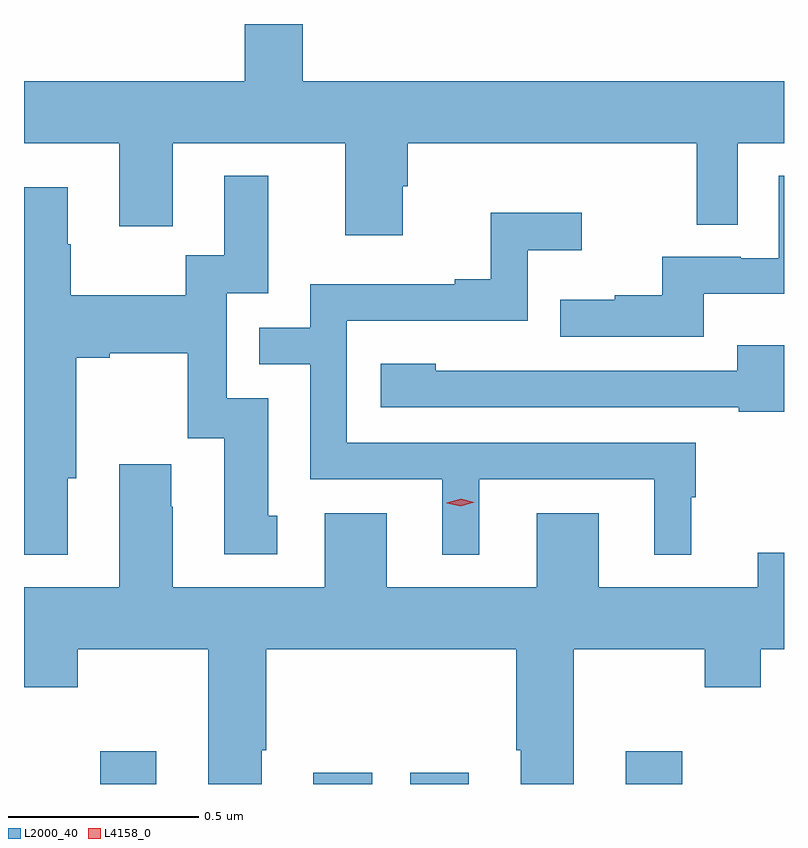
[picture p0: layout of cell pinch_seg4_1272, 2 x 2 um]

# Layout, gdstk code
import gdstk
lib = gdstk.Library(unit=1e-6, precision=1e-09)
def R(c, l, rs):  # rectangles x0, y0, x1, y1
    for r in rs: c.add(gdstk.rectangle(r[:2], r[2:], *l))
def P(c, l, *ps):  # polygons
    for p in ps: c.add(gdstk.Polygon(p, *l))
L2000_40 = (2000, 40)
L4158_0 = (4158, 0)

pinch_seg4_1272 = lib.new_cell('pinch_seg4_1272')
R(pinch_seg4_1272, L2000_40, [(157.665,823.106,157.812,823.192), (158.225,823.106,158.38,823.135), (158.48,823.106,158.635,823.135), (159.047,823.106,159.196,823.192)])
P(pinch_seg4_1272, L2000_40, [(158.461,824.679),(158.474,824.679),(158.474,824.792),(159.234,824.792),(159.234,824.578),(159.342,824.578),(159.342,824.792),(159.464,824.792),(159.464,824.956),(158.198,824.956),(158.198,825.106),(158.045,825.106),(158.045,824.956),(157.464,824.956),(157.464,824.792),(157.715,824.792),(157.715,824.574),(157.855,824.574),(157.855,824.792),(158.309,824.792),(158.309,824.55),(158.461,824.55)],
  [(157.579,823.911),(157.602,823.911),(157.602,824.228),(157.69,824.228),(157.69,824.24),(157.895,824.24),(157.895,824.016),(157.991,824.016),(157.991,823.71),(158.131,823.71),(158.131,823.812),(158.107,823.812),(158.107,824.121),(157.998,824.121),(157.998,824.397),(158.107,824.397),(158.107,824.707),(157.991,824.707),(157.991,824.498),(157.89,824.498),(157.89,824.392),(157.587,824.392),(157.587,824.526),(157.579,824.526),(157.579,824.677),(157.464,824.677),(157.464,823.709),(157.579,823.709)],
  [(159.253,824.396),(159.464,824.396),(159.464,824.707),(159.45,824.707),(159.45,824.49),(159.35,824.49),(159.35,824.493),(159.143,824.493),(159.143,824.392),(159.019,824.392),(159.019,824.38),(158.875,824.38),(158.875,824.283),(159.253,824.283)],
  [(158.662,823.908),(159.122,823.908),(159.122,823.709),(159.22,823.709),(159.22,823.86),(159.232,823.86),(159.232,824.004),(158.313,824.004),(158.313,824.325),(158.79,824.325),(158.79,824.51),(158.932,824.51),(158.932,824.609),(158.692,824.609),(158.692,824.434),(158.597,824.434),(158.597,824.421),(158.217,824.421),(158.217,824.307),(158.083,824.307),(158.083,824.211),(158.217,824.211),(158.217,823.908),(158.564,823.908),(158.564,823.709),(158.662,823.709)],
  [(159.464,824.26),(159.341,824.26),(159.341,824.193),(158.783,824.193),(158.783,824.194),(158.547,824.194),(158.547,824.212),(158.403,824.212),(158.403,824.097),(159.345,824.097),(159.345,824.085),(159.464,824.085)],
  [(158.089,823.195),(158.102,823.195),(158.102,823.46),(158.759,823.46),(158.759,823.195),(158.771,823.195),(158.771,823.106),(158.911,823.106),(158.911,823.46),(159.256,823.46),(159.256,823.361),(159.403,823.361),(159.403,823.46),(159.464,823.46),(159.464,823.715),(159.395,823.715),(159.395,823.624),(158.977,823.624),(158.977,823.819),(158.813,823.819),(158.813,823.624),(158.419,823.624),(158.419,823.819),(158.255,823.819),(158.255,823.624),(157.855,823.624),(157.855,823.835),(157.852,823.835),(157.852,823.948),(157.715,823.948),(157.715,823.624),(157.464,823.624),(157.464,823.361),(157.605,823.361),(157.605,823.46),(157.949,823.46),(157.949,823.106),(158.089,823.106)])
P(pinch_seg4_1272, L4158_0, [(158.613,823.837),(158.577,823.845),(158.577,823.846),(158.577,823.846),(158.613,823.857),(158.649,823.848),(158.649,823.848),(158.649,823.848)])

lib.write_gds('pinch_seg4_1272.gds')
